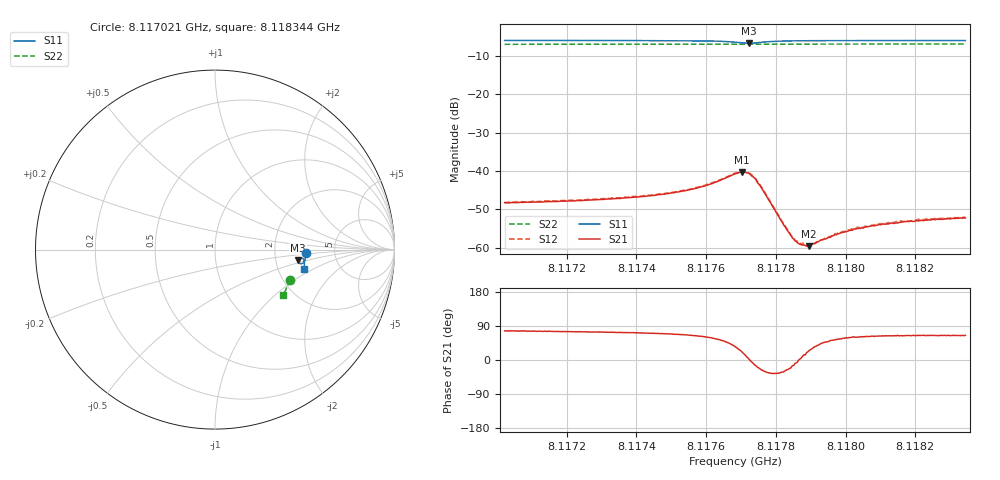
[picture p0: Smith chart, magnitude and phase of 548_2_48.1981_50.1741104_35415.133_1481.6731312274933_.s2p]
#  HZ  S  RI  R  50.00
! Rohde & Schwarz Vector Network Analyzer
! Rohde-Schwarz,ZNB20-2Port,1311601062101988,3.16
! Created: UTC 3/20/2024, 12:00:40 PM
! freq[Hz]  re:S11  im:S11  re:S21  im:S21  re:S12  im:S12  re:S22  im:S22
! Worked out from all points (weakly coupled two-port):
!   401 points, 8.117021 GHz to 8.118344 GHz, reference 50 ohm
!   highest |S21| = -40.24 dB at 8.117703 GHz (marker M1); lowest = -59.6 dB at 8.117894 GHz (marker M2)
!   lowest |S11| = -6.6 dB at 8.117722 GHz (marker M3), VSWR 2.75, Z = 134 - j20.4 ohm
!   |S11| at or under -10 dB: nowhere
!   |S22| runs from -6.9 to -6.8 dB; largest |S21 - S12| = 0.00031
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8.1170215e9  0.5063 -0.0173  0.000872 0.00376  0.00089 0.00381  0.4182 -0.1699
8.117243e9  0.5049 -0.035  0.00112 0.00395  0.00116 0.00403  0.4126 -0.1844
8.1174645e9  0.5016 -0.0547  0.0017 0.00462  0.00174 0.0047  0.4066 -0.1987
8.1175373e9  0.4994 -0.0625  0.00219 0.00502  0.00227 0.00514  0.4044 -0.2036
8.1175902e9  0.4959 -0.0691  0.00295 0.00558  0.00302 0.00565  0.4026 -0.207
8.1176827e9  0.4742 -0.0781  0.00749 0.0053  0.0077 0.00541  0.399 -0.2126
8.1177026e9  0.4655 -0.0722  0.00907 0.00352  0.00924 0.00349  0.3982 -0.2134
8.1177224e9  0.4622 -0.0599  0.00931 0.000436  0.00946 0.000428  0.3977 -0.2141
8.1177356e9  0.4657 -0.0519  0.00827 -0.00139  0.00834 -0.00144  0.3975 -0.2146
8.1177555e9  0.4757 -0.046  0.00581 -0.0026  0.00592 -0.0027  0.3975 -0.2156
8.1178216e9  0.4948 -0.055  0.00171 -0.00105  0.00175 -0.00109  0.3962 -0.2202
8.1178481e9  0.4971 -0.0596  0.00129 -0.000337  0.00131 -0.000423  0.3954 -0.2219
8.1178679e9  0.4979 -0.0628  0.00111 2.6e-05  0.00116 5.6e-06  0.3947 -0.2232
8.1178877e9  0.4985 -0.0658  0.00099 0.000344  0.001 0.000334  0.3942 -0.2246
8.1178943e9  0.4986 -0.0665  0.000955 0.000425  0.000986 0.000412  0.394 -0.225
8.1179043e9  0.4987 -0.0678  0.000973 0.000577  0.000959 0.000563  0.3936 -0.2255
8.117977e9  0.4987 -0.0761  0.00087 0.00125  0.000868 0.00128  0.3912 -0.2303
8.1180134e9  0.4985 -0.0798  0.000863 0.00144  0.000888 0.00144  0.39 -0.2326
8.1180927e9  0.4978 -0.0871  0.000902 0.00175  0.000902 0.00182  0.3874 -0.2375
8.1181258e9  0.4972 -0.0898  0.000913 0.00185  0.000937 0.00186  0.3863 -0.2395
8.1182084e9  0.4961 -0.0968  0.000949 0.00204  0.00105 0.00211  0.3834 -0.2445
8.118344e9  0.4939 -0.1074  0.00103 0.00221  0.00108 0.00229  0.3785 -0.2529
